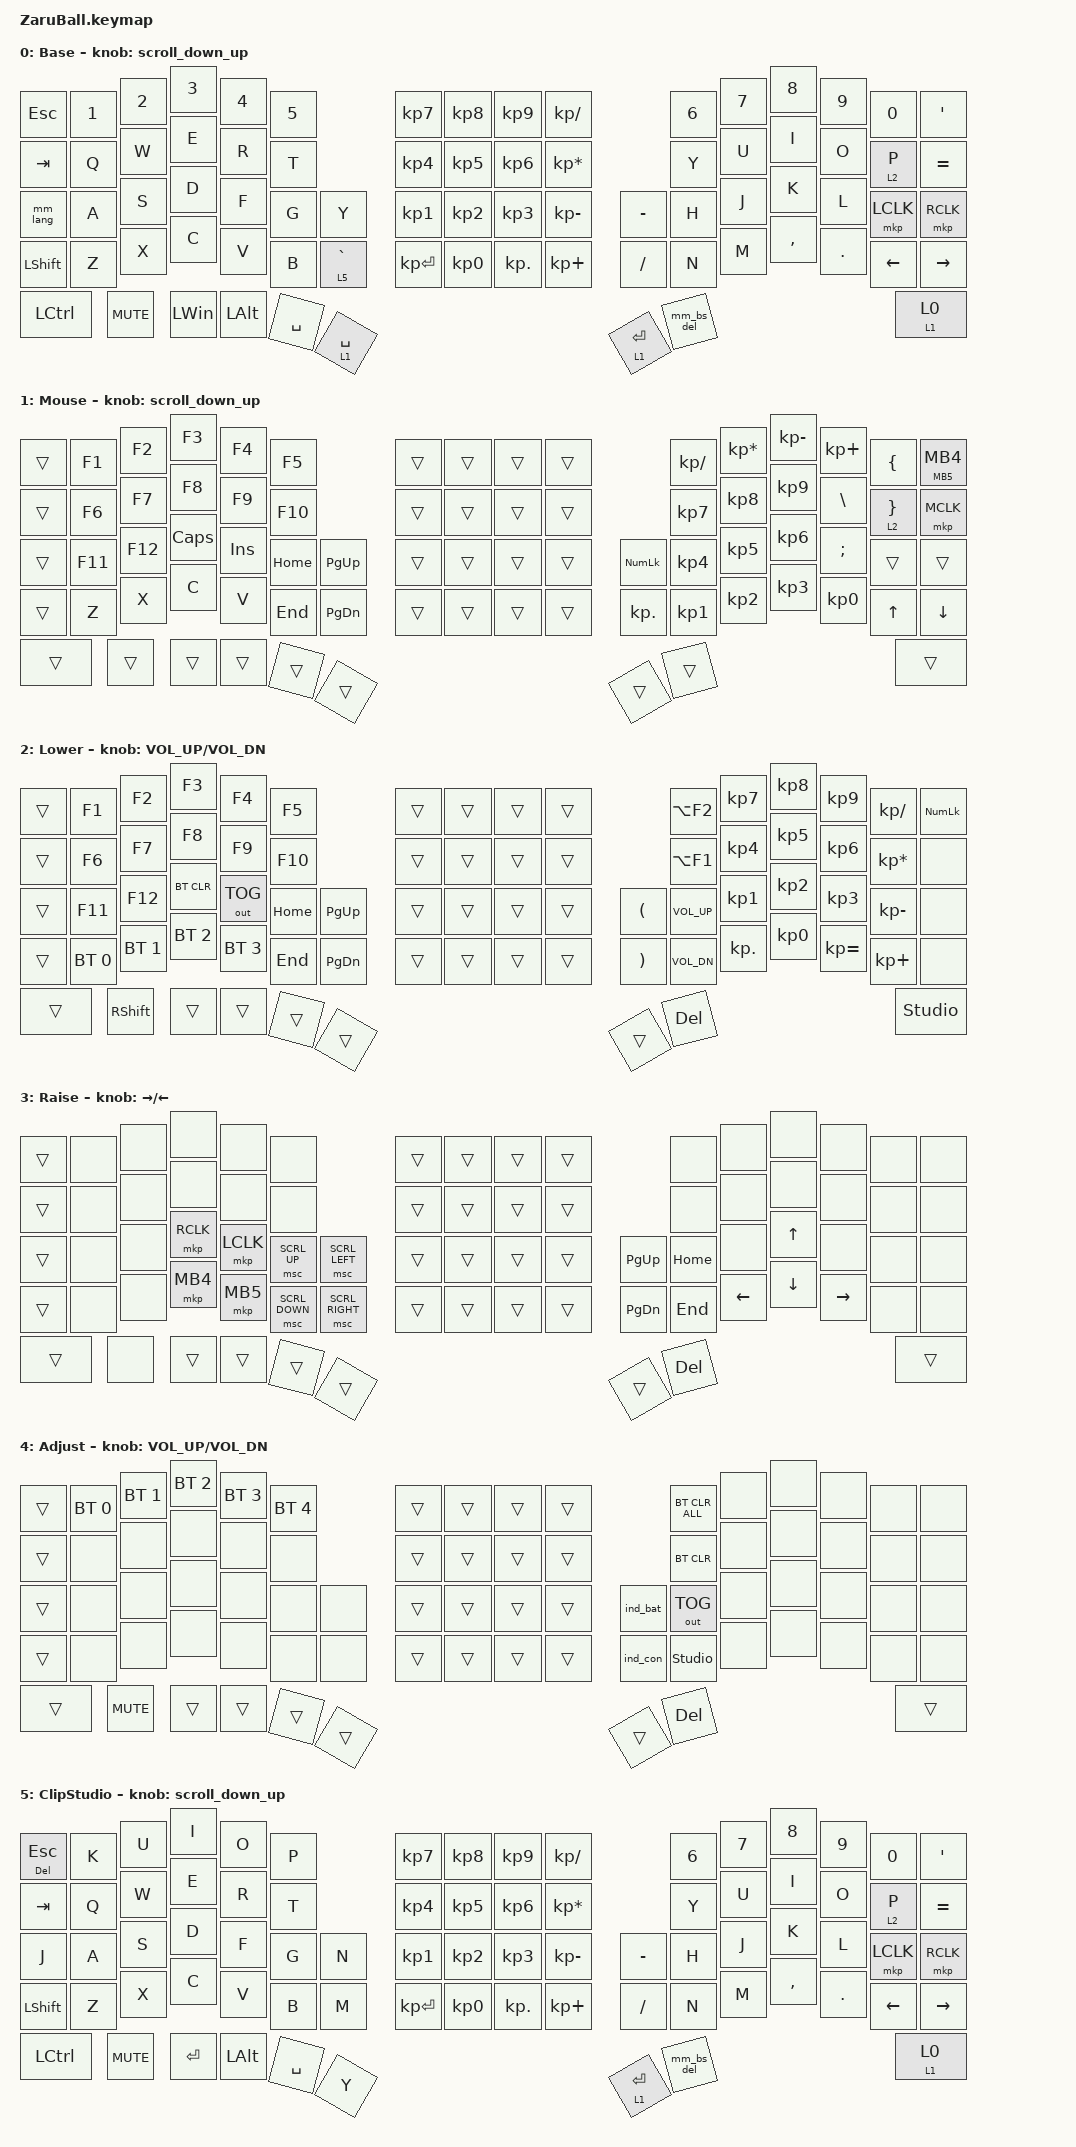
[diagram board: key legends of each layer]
//#include <dt-bindings/zmk/mouse.h>

#include <behaviors/rgbled_widget.dtsi>
#include <input/processors.dtsi>
#include <dt-bindings/zmk/input_transform.h>
#include <behaviors.dtsi>
#include <dt-bindings/zmk/bt.h>
#include <dt-bindings/zmk/keys.h>
#include <dt-bindings/zmk/outputs.h>
#include <dt-bindings/zmk/pointing.h>

#define BASE     0
#define MOUSE    1
#define LOWER    2
#define RAISE    3
#define ADJUST   4
#define SCROLL   2

// スクロール量の設定

#define ZMK_POINTING_DEFAULT_SCRL_VAL 100

&trackball_listener {
    input-processors = <
                         &zip_xy_transform (INPUT_TRANSFORM_XY_SWAP | INPUT_TRANSFORM_Y_INVERT | INPUT_TRANSFORM_X_INVERT)
    >;

    scroller {
        layers = <SCROLL>;
        input-processors = <
                            &zip_xy_transform (INPUT_TRANSFORM_XY_SWAP | INPUT_TRANSFORM_X_INVERT)
                            &zip_xy_scaler 3 320
                            &zip_xy_to_scroll_mapper
        >;
    };
};

/ {
    conditional_layers {
        compatible = "zmk,conditional-layers";

        tri_layer {
            if-layers = <2 7>;
            then-layer = <7>;
        };
    };
};

/ {
    behaviors {
        // スクロール用のbehaviorの設定

        scroll_down_up: behavior_sensor_rotate_mouse_wheel_down_up {
            compatible = "zmk,behavior-sensor-rotate";
            #sensor-binding-cells = <0>;
            bindings = <&msc SCRL_DOWN>, <&msc SCRL_UP>;

            tap-ms = <20>; // スクロールのタップ時間
        };

        td0: tap_dance_0 {
            compatible = "zmk,behavior-tap-dance";
            #binding-cells = <0>;
            tapping-term-ms = <200>;
            bindings = <&mt LALT LANG2>, <&mo 7>, <&mo 1>;
        };

        td1: tap_dance_1 {
            compatible = "zmk,behavior-tap-dance";
            #binding-cells = <0>;
            tapping-term-ms = <200>;
            bindings = <&mt RCTL LANG1>, <&mo 7>, <&mo 1>;
        };

        // Customed Hold-Tap for SandS

        SandS: SandS {
            compatible = "zmk,behavior-hold-tap";
            #binding-cells = <2>;
            flavor = "tap-unless-interrupted";
            tapping-term-ms = <500>;
            quick-tap-ms = <500>;
            bindings = <&kp>, <&kp>;

            display-name = "SandS";
        };

        mm_bs_del: mm_bs_del {
            compatible = "zmk,behavior-mod-morph";
            label = "MM_BS_DEL";
            bindings = <&kp BACKSPACE>, <&kp DEL>;

            #binding-cells = <0>;
            mods = <(MOD_LSFT|MOD_RSFT)>;
        };

        hld_tl: hld_tl {
            compatible = "zmk,behavior-hold-tap";
            label = "HLD_TL";
            #binding-cells = <2>;
            tapping-term-ms = <200>;
            bindings = <&to>, <&to>;
        };

        hld_mkp: hld_mkp {
            compatible = "zmk,behavior-hold-tap";
            label = "HLD_MKP";
            bindings = <&mkp>, <&mkp>;

            #binding-cells = <2>;
            tapping-term-ms = <200>;
        };

        mm_lang: mm_lang {
            compatible = "zmk,behavior-mod-morph";
            label = "MM_LANG";
            bindings = <&kp LANGUAGE_2>, <&kp LANGUAGE_1>;

            #binding-cells = <0>;
            mods = <(MOD_LSFT|MOD_RSFT)>;
        };

        ht_to_kp: ht_to_kp {
            compatible = "zmk,behavior-hold-tap";
            label = "HT_TO_KP";
            bindings = <&to>, <&kp>;

            #binding-cells = <2>;
            tapping-term-ms = <200>;
        };
    };
};

&sl { release-after-ms = <250>; }; // time needed for double click (for mkp_exit_AML)
/ {
    macros {
        // When in AML, move to default layer when key (except mouse button) pressed

        to_layer_0: to_layer_0 {
            compatible = "zmk,behavior-macro-one-param";
            #binding-cells = <1>;
            bindings = <&tog 1 &macro_param_1to1 &kp MACRO_PLACEHOLDER>;
            label = "TO_layer_0";
        };

        // When LCLK pressed, exit AML (after 250ms cause by sticky layer

        mkp_exit_AML: mkp_exit_AML {
            compatible = "zmk,behavior-macro-one-param";
            #binding-cells = <1>;
            bindings =
                <&macro_press>,
                <&macro_param_1to1 &mkp MACRO_PLACEHOLDER>,
                <&macro_pause_for_release>,
                <&macro_release>,
                <&macro_param_1to1 &mkp MACRO_PLACEHOLDER>,
                <&macro_tap>,
                <&sl 1>;

            label = "MKP_EXIT_AML";
        };
    };
};

/ {
    keymap {
        compatible = "zmk,keymap";

        base_layer {
            display-name = "Base";
            sensor-bindings = <&scroll_down_up>;
            bindings = <
&kp ESC    &kp N1      &kp N2  &kp N3    &kp N4        &kp N5                          &kp KP_N7     &kp KP_N8  &kp KP_N9   &kp KP_DIVIDE                 &kp NUMBER_6  &kp N7  &kp N8     &kp N9   &kp N0          &kp SINGLE_QUOTE
&kp TAB    &kp Q       &kp W   &kp E     &kp R         &kp T                           &kp KP_N4     &kp KP_N5  &kp KP_N6   &kp KP_MULTIPLY               &kp Y         &kp U   &kp I      &kp O    &lt 2 P         &kp EQUAL
&mm_lang   &kp A       &kp S   &kp D     &kp F         &kp G      &kp Y                &kp KP_N1     &kp KP_N2  &kp KP_N3   &kp KP_MINUS       &kp MINUS  &kp H         &kp J   &kp K      &kp L    &mkp LCLK       &mkp RCLK
&kp LSHFT  &kp Z       &kp X   &kp C     &kp V         &kp B      &ht_to_kp 5 GRAVE    &kp KP_ENTER  &kp KP_N0  &kp KP_DOT  &kp KP_PLUS        &kp SLASH  &kp N         &kp M   &kp COMMA  &kp DOT  &kp LEFT_ARROW  &kp RIGHT_ARROW
&kp LCTRL  &kp C_MUTE          &kp LWIN  &kp LEFT_ALT  &kp SPACE  &lt 1 SPACE                                                                  &lt 1 RET  &mm_bs_del                                                &hld_tl 1 0
            >;
        };

        mouse_layer {
            display-name = "Mouse";
            sensor-bindings = <&scroll_down_up>;
            bindings = <
&trans  &kp F1   &kp F2   &kp F3    &kp F4   &kp F5                     &trans  &trans  &trans  &trans                    &kp KP_SLASH     &kp KP_ASTERISK  &kp KP_MINUS     &kp KP_PLUS      &kp LEFT_BRACE     &hld_mkp MB5 MB4
&trans  &kp F6   &kp F7   &kp F8    &kp F9   &kp F10                    &trans  &trans  &trans  &trans                    &kp KP_NUMBER_7  &kp KP_NUMBER_8  &kp KP_NUMBER_9  &kp BACKSLASH    &lt 2 RIGHT_BRACE  &mkp MCLK
&trans  &kp F11  &kp F12  &kp CAPS  &kp INS  &kp HOME  &kp PAGE_UP      &trans  &trans  &trans  &trans    &kp KP_NUMLOCK  &kp KP_NUMBER_4  &kp KP_NUMBER_5  &kp KP_NUMBER_6  &kp SEMICOLON    &trans             &trans
&trans  &kp Z    &kp X    &kp C     &kp V    &kp END   &kp PAGE_DOWN    &trans  &trans  &trans  &trans    &kp KP_DOT      &kp KP_NUMBER_1  &kp KP_NUMBER_2  &kp KP_NUMBER_3  &kp KP_NUMBER_0  &kp UP_ARROW       &kp DOWN_ARROW
&trans  &trans            &trans    &trans   &trans    &trans                                             &trans          &trans                                                                                 &trans
            >;
        };

        lower_layer {
            display-name = "Lower";
            sensor-bindings = <&inc_dec_kp C_VOL_UP C_VOL_DN>;
            bindings = <
&trans  &kp F1        &kp F2        &kp F3        &kp F4        &kp F5                 &trans  &trans  &trans  &trans              &kp LA(F2)    &kp KP_N7   &kp KP_N8  &kp KP_N9     &kp KP_SLASH     &kp KP_NUMLOCK
&trans  &kp F6        &kp F7        &kp F8        &kp F9        &kp F10                &trans  &trans  &trans  &trans              &kp LA(F1)    &kp KP_N4   &kp KP_N5  &kp KP_N6     &kp KP_MULTIPLY  &none
&trans  &kp F11       &kp F12       &bt BT_CLR    &out OUT_TOG  &kp HOME  &kp PG_UP    &trans  &trans  &trans  &trans    &kp LPAR  &kp C_VOL_UP  &kp KP_N1   &kp KP_N2  &kp KP_N3     &kp KP_MINUS     &none
&trans  &bt BT_SEL 0  &bt BT_SEL 1  &bt BT_SEL 2  &bt BT_SEL 3  &kp END   &kp PG_DN    &trans  &trans  &trans  &trans    &kp RPAR  &kp C_VOL_DN  &kp KP_DOT  &kp KP_N0  &kp KP_EQUAL  &kp KP_PLUS      &none
&trans  &kp RSHFT                   &trans        &trans        &trans    &trans                                         &trans    &kp DEL                                                             &studio_unlock
            >;
        };

        raise_layer {
            display-name = "Raise";
            sensor-bindings = <&inc_dec_kp RIGHT LEFT>;
            bindings = <
&trans  &none  &none  &none      &none      &none                              &trans  &trans  &trans  &trans               &none     &none     &none     &none      &none  &none
&trans  &none  &none  &none      &none      &none                              &trans  &trans  &trans  &trans               &none     &none     &none     &none      &none  &none
&trans  &none  &none  &mkp RCLK  &mkp LCLK  &msc SCRL_UP    &msc SCRL_LEFT     &trans  &trans  &trans  &trans    &kp PG_UP  &kp HOME  &none     &kp UP    &none      &none  &none
&trans  &none  &none  &mkp MB4   &mkp MB5   &msc SCRL_DOWN  &msc SCRL_RIGHT    &trans  &trans  &trans  &trans    &kp PG_DN  &kp END   &kp LEFT  &kp DOWN  &kp RIGHT  &none  &none
&trans  &none         &trans     &trans     &trans          &trans                                               &trans     &kp DEL                                         &trans
            >;
        };

        adjust_layer {
            display-name = "Adjust";
            sensor-bindings = <&inc_dec_kp C_VOL_UP C_VOL_DN>;
            bindings = <
&trans  &bt BT_SEL 0  &bt BT_SEL 1  &bt BT_SEL 2  &bt BT_SEL 3  &bt BT_SEL 4            &trans  &trans  &trans  &trans              &bt BT_CLR_ALL  &none  &none  &none  &none  &none
&trans  &none         &none         &none         &none         &none                   &trans  &trans  &trans  &trans              &bt BT_CLR      &none  &none  &none  &none  &none
&trans  &none         &none         &none         &none         &none         &none     &trans  &trans  &trans  &trans    &ind_bat  &out OUT_TOG    &none  &none  &none  &none  &none
&trans  &none         &none         &none         &none         &none         &none     &trans  &trans  &trans  &trans    &ind_con  &studio_unlock  &none  &none  &none  &none  &none
&trans  &kp C_MUTE                  &trans        &trans        &trans        &trans                                      &trans    &kp DEL                                     &trans
            >;
        };

        ClipStudio {
            display-name = "ClipStudio";
            bindings = <
&mt DELETE ESCAPE  &kp K       &kp U  &kp I      &kp O         &kp P               &kp KP_N7     &kp KP_N8  &kp KP_N9   &kp KP_DIVIDE                 &kp NUMBER_6  &kp N7  &kp N8     &kp N9   &kp N0          &kp SINGLE_QUOTE
&kp TAB            &kp Q       &kp W  &kp E      &kp R         &kp T               &kp KP_N4     &kp KP_N5  &kp KP_N6   &kp KP_MULTIPLY               &kp Y         &kp U   &kp I      &kp O    &lt 2 P         &kp EQUAL
&kp J              &kp A       &kp S  &kp D      &kp F         &kp G      &kp N    &kp KP_N1     &kp KP_N2  &kp KP_N3   &kp KP_MINUS       &kp MINUS  &kp H         &kp J   &kp K      &kp L    &mkp LCLK       &mkp RCLK
&kp LSHFT          &kp Z       &kp X  &kp C      &kp V         &kp B      &kp M    &kp KP_ENTER  &kp KP_N0  &kp KP_DOT  &kp KP_PLUS        &kp SLASH  &kp N         &kp M   &kp COMMA  &kp DOT  &kp LEFT_ARROW  &kp RIGHT_ARROW
&kp LCTRL          &kp C_MUTE         &kp ENTER  &kp LEFT_ALT  &kp SPACE  &kp Y                                                            &lt 1 RET  &mm_bs_del                                                &hld_tl 1 0
            >;

            sensor-bindings = <&scroll_down_up>;
        };

        extra1 {
            status = "reserved";
            sensor-bindings = <&inc_dec_kp 0 0>;
        };

        extra2 { status = "reserved"; };
    };
};
